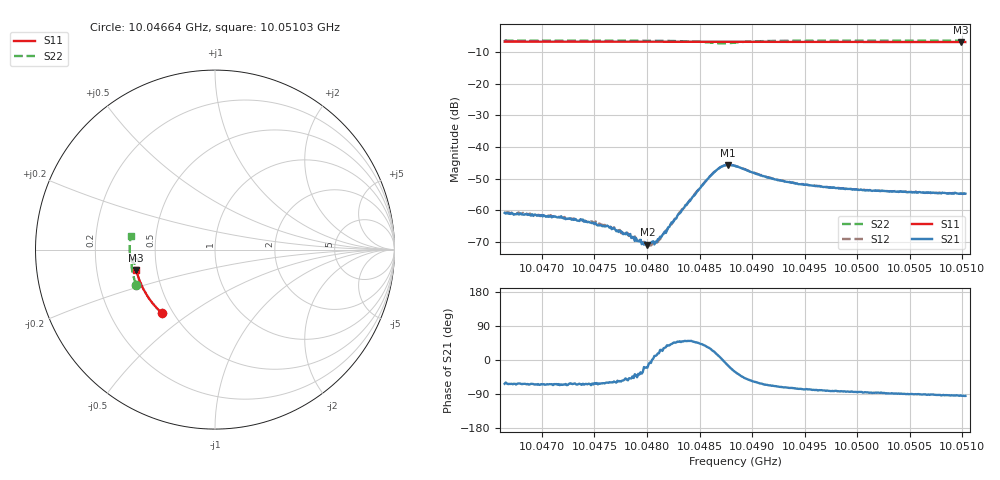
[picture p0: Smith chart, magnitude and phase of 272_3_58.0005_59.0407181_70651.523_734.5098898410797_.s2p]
#  HZ  S  RI  R  50.00
! Rohde & Schwarz Vector Network Analyzer
! Rohde-Schwarz,ZNB20-2Port,1311601062101988,3.16
! Created: UTC 3/21/2024, 1:02:26 AM
! freq[Hz]  re:S11  im:S11  re:S21  im:S21  re:S12  im:S12  re:S22  im:S22
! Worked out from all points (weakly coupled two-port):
!   401 points, 10.04664 GHz to 10.05103 GHz, reference 50 ohm
!   highest |S21| = -45.67 dB at 10.04877 GHz (marker M1); lowest = -70.8 dB at 10.048 GHz (marker M2)
!   lowest |S11| = -6.9 dB at 10.05099 GHz (marker M3), VSWR 2.66, Z = 19.1 - j5.47 ohm
!   |S11| at or under -10 dB: nowhere
!   |S22| runs from -7.3 to -6.4 dB; largest |S21 - S12| = 0.00037
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1.0046645e10  -0.2938 -0.3552  0.000417 -0.000811  0.000468 -0.000798  -0.4383 -0.1946
1.0047105e10  -0.316 -0.3343  0.000325 -0.000737  0.000403 -0.000698  -0.4493 -0.1654
1.0047379e10  -0.3284 -0.3212  0.000291 -0.000637  0.000342 -0.000622  -0.4548 -0.1472
1.0047632e10  -0.3395 -0.3086  0.000278 -0.000488  0.000331 -0.000462  -0.4592 -0.1297
1.0047697e10  -0.3424 -0.3054  0.000262 -0.000423  0.000311 -0.000413  -0.4602 -0.1252
1.0047774e10  -0.3455 -0.3014  0.000246 -0.00034  0.000278 -0.000372  -0.4614 -0.1196
1.0047818e10  -0.3474 -0.2992  0.000241 -0.000329  0.000298 -0.000317  -0.4617 -0.1164
1.0047906e10  -0.3509 -0.2947  0.00023 -0.000236  0.000264 -0.000189  -0.4629 -0.1098
1.0048004e10  -0.355 -0.2894  0.00027 -9.86e-05  0.000282 -5.53e-05  -0.4639 -0.1021
1.0048026e10  -0.3559 -0.2884  0.0003 -3.41e-05  0.000291 -2.6e-05  -0.464 -0.1005
1.0048092e10  -0.3586 -0.2848  0.000309 7.08e-05  0.000301 7.1e-05  -0.4643 -0.0951
1.0048114e10  -0.3594 -0.2838  0.000337 0.000109  0.000321 0.000131  -0.4643 -0.0934
1.0048312e10  -0.367 -0.2731  0.000585 0.000682  0.000576 0.000738  -0.4633 -0.0756
1.0048608e10  -0.3775 -0.2567  0.00309 0.00171  0.00303 0.00189  -0.4401 -0.0502
1.0048695e10  -0.3806 -0.2519  0.0047 0.00061  0.0047 0.00091  -0.4268 -0.0576
1.0048772e10  -0.3832 -0.2478  0.00503 -0.00134  0.00516 -0.00101  -0.4269 -0.0715
1.0048838e10  -0.3853 -0.2443  0.00427 -0.00259  0.00451 -0.00236  -0.4362 -0.0788
1.0049222e10  -0.3981 -0.2223  0.0011 -0.00286  0.00127 -0.00285  -0.4692 -0.0518
1.0049573e10  -0.4083 -0.2016  0.000468 -0.00241  0.000615 -0.00237  -0.4747 -0.0234
1.0050307e10  -0.4264 -0.1568  6.36e-05 -0.00199  0.000155 -0.00196  -0.4751 0.0291
1.0050987e10  -0.4386 -0.1139  -0.000114 -0.00184  -4.75e-05 -0.00184  -0.4698 0.0747
1.0051031e10  -0.4393 -0.1112  -0.000152 -0.00183  -2.55e-05 -0.00185  -0.4693 0.0775
